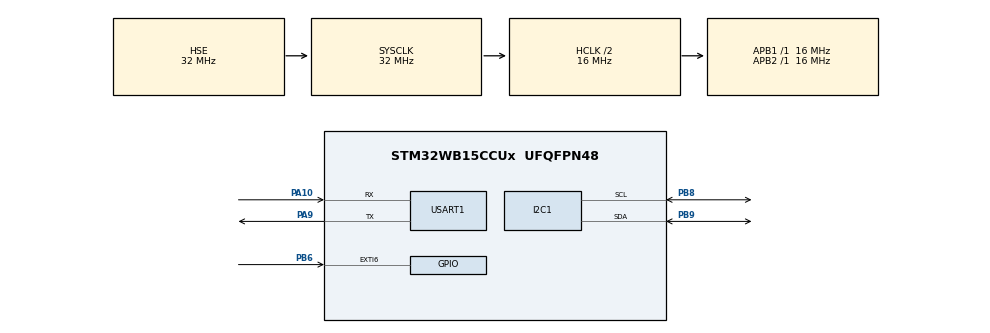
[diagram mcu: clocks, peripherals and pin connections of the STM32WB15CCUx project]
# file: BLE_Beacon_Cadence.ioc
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I2C1.Timing=0x00303D5B
Mcu.Family=STM32WB
Mcu.Name=STM32WB15CCUx
Mcu.Package=UFQFPN48
NVIC.EXTI9_5_IRQn=true\:0\:0\:false\:false\:true\:true\:true\:true
NVIC.HSEM_IRQn=true\:0\:0\:false\:false\:true\:false\:true\:true
NVIC.IPCC_C1_RX_IRQn=true\:0\:0\:false\:false\:true\:true\:true\:true
NVIC.IPCC_C1_TX_IRQn=true\:0\:0\:false\:false\:true\:true\:true\:true
NVIC.PriorityGroup=NVIC_PRIORITYGROUP_4
OSC_IN.Mode=HSE-External-Oscillator
OSC_IN.Signal=RCC_OSC_IN
OSC_OUT.Mode=HSE-External-Oscillator
OSC_OUT.Signal=RCC_OSC_OUT
PA10.Mode=Asynchronous
PA10.Signal=USART1_RX
PA9.Mode=Asynchronous
PA9.Signal=USART1_TX
PB6.Signal=GPXTI6
PB8.Mode=I2C
PB8.Signal=I2C1_SCL
PB9.Mode=I2C
PB9.Signal=I2C1_SDA
PC14-OSC32_IN.Mode=LSE-External-Oscillator
PC14-OSC32_IN.Signal=RCC_OSC32_IN
PC15-OSC32_OUT.Mode=LSE-External-Oscillator
PC15-OSC32_OUT.Signal=RCC_OSC32_OUT
ProjectManager.HeapSize=0x200
ProjectManager.StackSize=0x400
ProjectManager.TargetToolchain=STM32CubeIDE
RCC.AHBCLKDivider=RCC_SYSCLK_DIV2
RCC.AHBFreq_Value=16000000
RCC.APB1Freq_Value=16000000
RCC.APB1TimFreq_Value=16000000
RCC.APB2Freq_Value=16000000
RCC.APB2TimFreq_Value=16000000
RCC.APB3Freq_Value=16000000
RCC.CortexFreq_Value=16000000
RCC.HCLKFreq_Value=16000000
RCC.HSE_VALUE=32000000
RCC.HSI_VALUE=16000000
RCC.RFWKPClockSelection=RCC_RFWKPCLKSOURCE_LSE
RCC.RTCClockSelection=RCC_RTCCLKSOURCE_LSE
RCC.SYSCLKFreq_VALUE=32000000
RCC.SYSCLKSource=RCC_SYSCLKSOURCE_HSE
RCC.VCOOutputFreq_Value=32000000
RF1.Mode=RF1_Activate
RF1.Signal=RF_RF1
RTC.WakeUpCounter-WakeUp=0xFFFF
STM32_WPAN.BT_SIG_BEACON=CFG_IBEACON
STM32_WPAN.CFG_BLE_ATT_VALUE_ARRAY_SIZE=1290
STM32_WPAN.CFG_BLE_DATA_LENGTH_EXTENSION=1
STM32_WPAN.CFG_BLE_NUM_GATT_ATTRIBUTES=30
STM32_WPAN.CFG_BLE_NUM_GATT_SERVICES=4
STM32_WPAN.CFG_DEBUGGER_SUPPORTED=0
STM32_WPAN.CFG_IO_CAPABILITY=\ CFG_IO_CAPABILITY_NO_INPUT_NO_OUTPUT
STM32_WPAN.CFG_LPM_SUPPORTED=1
STM32_WPAN.CFG_TX_POWER=(0x19) /* 0dBm */
STM32_WPAN.CFG_USE_SMPS=1
STM32_WPAN.DBG_TRACE_USE_CIRCULAR_QUEUE=0
USART1.VirtualMode-Asynchronous=VM_ASYNC
VP_HSEM_VS_HSEM.Mode=HSEM_Activate
VP_IPCC_VS_IPCC.Mode=IPCC_Activate
VP_RTC_VS_RTC_Activate.Mode=RTC_Enabled
VP_RTC_VS_RTC_WakeUp_intern.Mode=WakeUp
VP_SEQUENCER_VS_SEQUENCER.Mode=SEQUENCER_Enabled
VP_STM32_WPAN_VS_BLE_HOST.Mode=STM32_WPAN_Enabled
VP_TINY_LPM_VS_TINY_LPM.Mode=TINY_LPM_Enabled
board=custom

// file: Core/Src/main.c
/* USER CODE BEGIN Header */
/**
  ******************************************************************************
  * @file           : main.c
  * @brief          : Main program body
  ******************************************************************************
  * @attention
  *
  * Copyright (c) 2023 STMicroelectronics.
  * All rights reserved.
  *
  * This software is licensed under terms that can be found in the LICENSE file
  * in the root directory of this software component.
  * If no LICENSE file comes with this software, it is provided AS-IS.
  *
  ******************************************************************************
  */
/* USER CODE END Header */
#include "main.h"

/* USER CODE BEGIN Includes */
#include <stdio.h>
#include "LIS2DW12.h"
#include "stm32_seq.h"
/* USER CODE END Includes */

/* USER CODE BEGIN PD */
#define MaxBuffer	6
/* USER CODE END PD */

I2C_HandleTypeDef hi2c1;

IPCC_HandleTypeDef hipcc;

RTC_HandleTypeDef hrtc;

UART_HandleTypeDef huart1;

/* USER CODE BEGIN PV */
float data[3];
uint8_t isReturnTop = 0;
uint8_t isReturnBottom = 0;
uint8_t count = 0;
uint8_t buffer[MaxBuffer] = {0,0,0,0,0,0};
uint8_t sumofBuffer = 0;
uint8_t duration = 0;
uint8_t rpm  = 0;

float z_data[25];
/* USER CODE END PV */

void SystemClock_Config(void);
void PeriphCommonClock_Config(void);
static void MX_GPIO_Init(void);
static void MX_I2C1_Init(void);
static void MX_IPCC_Init(void);
static void MX_RF_Init(void);
static void MX_RTC_Init(void);
static void MX_USART1_UART_Init(void);
/* USER CODE BEGIN PFP */
uint8_t runAlgo(void);

#ifdef __GNUC__
#define PUTCHAR_PROTOTYPE int __io_putchar(int ch)
#else
#define PUTCHAR_PROTOTYPE int fputc(int ch, FILE *f)
#endif

PUTCHAR_PROTOTYPE
{
  HAL_UART_Transmit(&huart1, (uint8_t *)&ch, 1, HAL_MAX_DELAY);
  return ch;
}

/* USER CODE END PFP */

/* USER CODE BEGIN 0 */
uint8_t runAlgo(void) {
	if(LIS2DW12_Get_FIFO_FTH(hi2c1) == 0x80) {
		LIS2DW12_Get_FIFO_Z(hi2c1, z_data);
		LIS2DW12_Reset_FIFO(hi2c1);

		count = 0;
		if(duration == MaxBuffer) {
			rpm = sumofBuffer * 5;
			if((rpm >= 5) && (rpm <= 35)) {
				rpm = 40;
			}
			duration = 0;
		}

		for(int i = 0; i < 25; i++) {
			if(z_data[i] >= 70.0) {
				isReturnTop = 0;
				isReturnBottom = 0;
			} else if((z_data[i] > 8.0) && (!isReturnTop)) {
				isReturnTop = 1;
			} else if((z_data[i] < 5.0) && (isReturnTop)) {
				isReturnBottom = 1;
			}

			if((isReturnTop) && (isReturnBottom)) {
				isReturnTop = 0;
				isReturnBottom = 0;
				count += 1;
			}
			printf("$%f %d %d %d;", z_data[i], count, sumofBuffer, rpm);
		}
		sumofBuffer = 0;
		buffer[duration] = count;
		for(int i = 0; i < MaxBuffer; i++) {
			sumofBuffer += buffer[i];
		}
		duration += 1;
		return rpm;

	}else {
		return 0;
	}
}

/* USER CODE END 0 */

int main(void)
{

  /* MCU Configuration--------------------------------------------------------*/

  /* Reset of all peripherals, Initializes the Flash interface and the Systick. */
  HAL_Init();
  /* Config code for STM32_WPAN (HSE Tuning must be done before system clock configuration) */
  MX_APPE_Config();

  /* Configure the system clock */
  SystemClock_Config();

/* Configure the peripherals common clocks */
  PeriphCommonClock_Config();

  /* IPCC initialisation */
   MX_IPCC_Init();

  /* Initialize all configured peripherals */
  MX_GPIO_Init();
  MX_I2C1_Init();
  MX_RF_Init();
  MX_RTC_Init();
  MX_USART1_UART_Init();

  /* Init code for STM32_WPAN */
  MX_APPE_Init();

  /* Infinite loop */
  while (1)
  {
    MX_APPE_Process();

  }
}

void SystemClock_Config(void)
{
  RCC_OscInitTypeDef RCC_OscInitStruct = {0};
  RCC_ClkInitTypeDef RCC_ClkInitStruct = {0};

  /** Configure LSE Drive Capability
  */
  HAL_PWR_EnableBkUpAccess();
  __HAL_RCC_LSEDRIVE_CONFIG(RCC_LSEDRIVE_LOW);

  /** Initializes the RCC Oscillators according to the specified parameters
  * in the RCC_OscInitTypeDef structure.
  */
  RCC_OscInitStruct.OscillatorType = RCC_OSCILLATORTYPE_HSI|RCC_OSCILLATORTYPE_HSE
                              |RCC_OSCILLATORTYPE_LSE;
  RCC_OscInitStruct.HSEState = RCC_HSE_ON;
  RCC_OscInitStruct.LSEState = RCC_LSE_ON;
  RCC_OscInitStruct.HSIState = RCC_HSI_ON;
  RCC_OscInitStruct.HSICalibrationValue = RCC_HSICALIBRATION_DEFAULT;
  RCC_OscInitStruct.PLL.PLLState = RCC_PLL_NONE;
  if (HAL_RCC_OscConfig(&RCC_OscInitStruct) != HAL_OK)
  {
    Error_Handler();
  }

  /** Configure the SYSCLKSource, HCLK, PCLK1 and PCLK2 clocks dividers
  */
  RCC_ClkInitStruct.ClockType = RCC_CLOCKTYPE_HCLK4|RCC_CLOCKTYPE_HCLK2
                              |RCC_CLOCKTYPE_HCLK|RCC_CLOCKTYPE_SYSCLK
                              |RCC_CLOCKTYPE_PCLK1|RCC_CLOCKTYPE_PCLK2;
  RCC_ClkInitStruct.SYSCLKSource = RCC_SYSCLKSOURCE_HSE;
  RCC_ClkInitStruct.AHBCLKDivider = RCC_SYSCLK_DIV2;
  RCC_ClkInitStruct.APB1CLKDivider = RCC_HCLK_DIV1;
  RCC_ClkInitStruct.APB2CLKDivider = RCC_HCLK_DIV1;
  RCC_ClkInitStruct.AHBCLK2Divider = RCC_SYSCLK_DIV1;
  RCC_ClkInitStruct.AHBCLK4Divider = RCC_SYSCLK_DIV1;

  if (HAL_RCC_ClockConfig(&RCC_ClkInitStruct, FLASH_LATENCY_1) != HAL_OK)
  {
    Error_Handler();
  }
}

void PeriphCommonClock_Config(void)
{
  RCC_PeriphCLKInitTypeDef PeriphClkInitStruct = {0};

  /** Initializes the peripherals clock
  */
  PeriphClkInitStruct.PeriphClockSelection = RCC_PERIPHCLK_SMPS|RCC_PERIPHCLK_RFWAKEUP;
  PeriphClkInitStruct.RFWakeUpClockSelection = RCC_RFWKPCLKSOURCE_LSE;
  PeriphClkInitStruct.SmpsClockSelection = RCC_SMPSCLKSOURCE_HSI;
  PeriphClkInitStruct.SmpsDivSelection = RCC_SMPSCLKDIV_RANGE1;

  if (HAL_RCCEx_PeriphCLKConfig(&PeriphClkInitStruct) != HAL_OK)
  {
    Error_Handler();
  }
}

static void MX_I2C1_Init(void)
{

  hi2c1.Instance = I2C1;
  hi2c1.Init.Timing = 0x00303D5B;
  hi2c1.Init.OwnAddress1 = 0;
  hi2c1.Init.AddressingMode = I2C_ADDRESSINGMODE_7BIT;
  hi2c1.Init.DualAddressMode = I2C_DUALADDRESS_DISABLE;
  hi2c1.Init.OwnAddress2 = 0;
  hi2c1.Init.OwnAddress2Masks = I2C_OA2_NOMASK;
  hi2c1.Init.GeneralCallMode = I2C_GENERALCALL_DISABLE;
  hi2c1.Init.NoStretchMode = I2C_NOSTRETCH_DISABLE;
  if (HAL_I2C_Init(&hi2c1) != HAL_OK)
  {
    Error_Handler();
  }

  /** Configure Analogue filter
  */
  if (HAL_I2CEx_ConfigAnalogFilter(&hi2c1, I2C_ANALOGFILTER_ENABLE) != HAL_OK)
  {
    Error_Handler();
  }

  /** Configure Digital filter
  */
  if (HAL_I2CEx_ConfigDigitalFilter(&hi2c1, 0) != HAL_OK)
  {
    Error_Handler();
  }

}

static void MX_IPCC_Init(void)
{

  hipcc.Instance = IPCC;
  if (HAL_IPCC_Init(&hipcc) != HAL_OK)
  {
    Error_Handler();
  }

}

static void MX_RF_Init(void)
{

}

static void MX_RTC_Init(void)
{

  /** Initialize RTC Only
  */
  hrtc.Instance = RTC;
  hrtc.Init.HourFormat = RTC_HOURFORMAT_24;
  hrtc.Init.AsynchPrediv = CFG_RTC_ASYNCH_PRESCALER;
  hrtc.Init.SynchPrediv = CFG_RTC_SYNCH_PRESCALER;
  hrtc.Init.OutPut = RTC_OUTPUT_DISABLE;
  hrtc.Init.OutPutPolarity = RTC_OUTPUT_POLARITY_HIGH;
  hrtc.Init.OutPutRemap = RTC_OUTPUT_REMAP_NONE;
  if (HAL_RTC_Init(&hrtc) != HAL_OK)
  {
    Error_Handler();
  }

  /** Enable the WakeUp
  */
  if (HAL_RTCEx_SetWakeUpTimer(&hrtc, 0xFFFF, RTC_WAKEUPCLOCK_RTCCLK_DIV16) != HAL_OK)
  {
    Error_Handler();
  }
  /* USER CODE BEGIN RTC_Init 2 */
  HAL_RTCEx_DeactivateWakeUpTimer(&hrtc);
  /* USER CODE END RTC_Init 2 */

}

static void MX_USART1_UART_Init(void)
{

  huart1.Instance = USART1;
  huart1.Init.BaudRate = 115200;
  huart1.Init.WordLength = UART_WORDLENGTH_8B;
  huart1.Init.StopBits = UART_STOPBITS_1;
  huart1.Init.Parity = UART_PARITY_NONE;
  huart1.Init.Mode = UART_MODE_TX_RX;
  huart1.Init.HwFlowCtl = UART_HWCONTROL_NONE;
  huart1.Init.OverSampling = UART_OVERSAMPLING_16;
  huart1.Init.OneBitSampling = UART_ONE_BIT_SAMPLE_DISABLE;
  huart1.Init.ClockPrescaler = UART_PRESCALER_DIV1;
  huart1.AdvancedInit.AdvFeatureInit = UART_ADVFEATURE_NO_INIT;
  if (HAL_UART_Init(&huart1) != HAL_OK)
  {
    Error_Handler();
  }
  if (HAL_UARTEx_SetTxFifoThreshold(&huart1, UART_TXFIFO_THRESHOLD_1_8) != HAL_OK)
  {
    Error_Handler();
  }
  if (HAL_UARTEx_SetRxFifoThreshold(&huart1, UART_RXFIFO_THRESHOLD_1_8) != HAL_OK)
  {
    Error_Handler();
  }
  if (HAL_UARTEx_DisableFifoMode(&huart1) != HAL_OK)
  {
    Error_Handler();
  }

}

static void MX_GPIO_Init(void)
{
  GPIO_InitTypeDef GPIO_InitStruct = {0};

  /* GPIO Ports Clock Enable */
  __HAL_RCC_GPIOC_CLK_ENABLE();
  __HAL_RCC_GPIOH_CLK_ENABLE();
  __HAL_RCC_GPIOB_CLK_ENABLE();
  __HAL_RCC_GPIOA_CLK_ENABLE();
  __HAL_RCC_GPIOE_CLK_ENABLE();

  /*Configure GPIO pin : PH3 */
  GPIO_InitStruct.Pin = GPIO_PIN_3;
  GPIO_InitStruct.Mode = GPIO_MODE_ANALOG;
  GPIO_InitStruct.Pull = GPIO_NOPULL;
  HAL_GPIO_Init(GPIOH, &GPIO_InitStruct);

  /*Configure GPIO pins : PA0 PA1 PA2 PA3
                           PA4 PA5 PA6 PA7
                           PA8 PA11 PA12 PA13
                           PA14 PA15 */
  GPIO_InitStruct.Pin = GPIO_PIN_0|GPIO_PIN_1|GPIO_PIN_2|GPIO_PIN_3
                          |GPIO_PIN_4|GPIO_PIN_5|GPIO_PIN_6|GPIO_PIN_7
                          |GPIO_PIN_8|GPIO_PIN_11|GPIO_PIN_12|GPIO_PIN_13
                          |GPIO_PIN_14|GPIO_PIN_15;
  GPIO_InitStruct.Mode = GPIO_MODE_ANALOG;
  GPIO_InitStruct.Pull = GPIO_NOPULL;
  HAL_GPIO_Init(GPIOA, &GPIO_InitStruct);

  /*Configure GPIO pins : PB2 PB0 PB1 PB3
                           PB4 PB5 PB7 */
  GPIO_InitStruct.Pin = GPIO_PIN_2|GPIO_PIN_0|GPIO_PIN_1|GPIO_PIN_3
                          |GPIO_PIN_4|GPIO_PIN_5|GPIO_PIN_7;
  GPIO_InitStruct.Mode = GPIO_MODE_ANALOG;
  GPIO_InitStruct.Pull = GPIO_NOPULL;
  HAL_GPIO_Init(GPIOB, &GPIO_InitStruct);

  /*Configure GPIO pin : PE4 */
  GPIO_InitStruct.Pin = GPIO_PIN_4;
  GPIO_InitStruct.Mode = GPIO_MODE_ANALOG;
  GPIO_InitStruct.Pull = GPIO_NOPULL;
  HAL_GPIO_Init(GPIOE, &GPIO_InitStruct);

  /*Configure GPIO pin : PB6 */
  GPIO_InitStruct.Pin = GPIO_PIN_6;
  GPIO_InitStruct.Mode = GPIO_MODE_IT_RISING;
  GPIO_InitStruct.Pull = GPIO_NOPULL;
  HAL_GPIO_Init(GPIOB, &GPIO_InitStruct);

  /* EXTI interrupt init*/
  HAL_NVIC_SetPriority(EXTI9_5_IRQn, 0, 0);
  HAL_NVIC_EnableIRQ(EXTI9_5_IRQn);

}

/* USER CODE BEGIN 4 */
void HAL_GPIO_EXTI_Callback(uint16_t GPIO_Pin) {
	if(GPIO_Pin == GPIO_PIN_6) {
		SystemClock_Config();
		HAL_ResumeTick();
		UTIL_SEQ_SetTask(1<<CFG_TASK_GET_CADENCE, CFG_SCH_PRIO_0);
	}
}
/* USER CODE END 4 */

void Error_Handler(void)
{
  __disable_irq();
  while (1)
  {
  }
}
